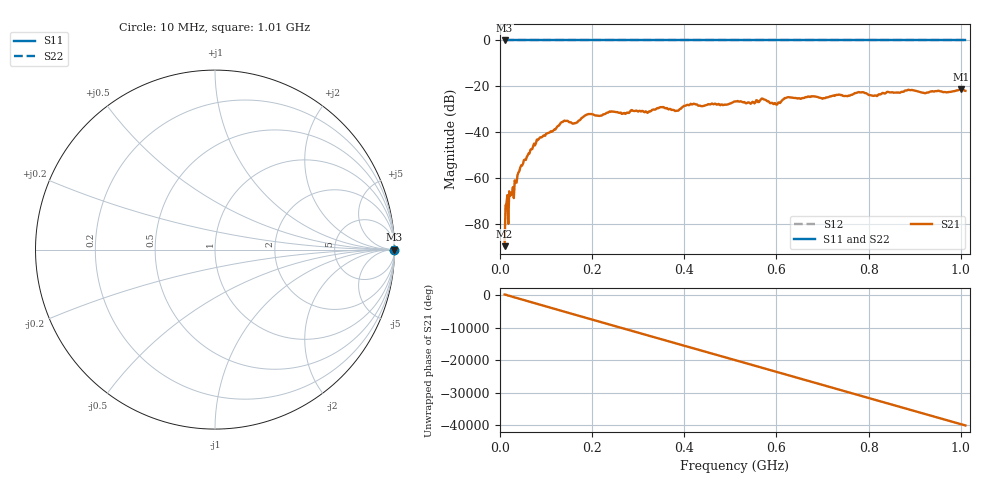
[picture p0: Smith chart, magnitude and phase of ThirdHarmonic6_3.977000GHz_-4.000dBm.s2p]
! 8/17/2025 2:09:19 PM
! C:\ANRITSUVNA\TEMP\TEMP.S2P
! CHANNEL.1
! TR.MEASUREMENT
! RAW.DATA
! RF.CORRECTION.OFF
! AVERAGING.OFF
! IF.BANDWIDTH: 5KHZ
! SWEEPTYPE:  FREQ.SWEEP(Linear)
! Reference Plane Port Info
! PORT:  PORT1  PORT2
! DISTANCE:  0  m  0  m
! TIME:  0  s  0  s
! PHASE.OFFSET:  0  deg.  0  deg.
! LOSS:  0  dB  0  dB
! REF.LOSS:  0  dB  0  dB
! REF.FREQ:  0  Hz  0  Hz
! Power Info
! POWER:  -20  dBm  -20  dBm
! EFF.POWER:  -20  dBm  -20  dBm
! SOURCE.ATTEN:  0  dB  0  dB
! TEST.ATTEN:  0  dB  0  dB
# GHZ S RI R 50.0
! FREQ.GHZ  S11RE  S11IM  S21RE  S21IM  S12RE  S12IM  S22RE  S22IM
!; PortSelection: Port_12
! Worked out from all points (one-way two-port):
!   501 points, 10 MHz to 1.01 GHz, reference 50 ohm
!   highest |S21| = -21.30 dB at 1 GHz (marker M1); lowest = -89.8 dB at 10 MHz (marker M2)
!   lowest |S11| = 0.0 dB at 10 MHz (marker M3)
!   |S11| at or under -10 dB: nowhere
!   |S22| runs from 0.0 to 0.0 dB; largest |S21 - S12| = 1.1
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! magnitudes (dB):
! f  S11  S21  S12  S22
! 10 MHz  0.0  -89.8  0.0  0.0
! 16 MHz  0.0  -67.6  0.0  0.0
! 22 MHz  0.0  -67.9  0.0  0.0
! 24 MHz  0.0  -67.3  0.0  0.0
! 26 MHz  0.0  -66.8  0.0  0.0
! 42 MHz  0.0  -57.0  0.0  0.0
! 82 MHz  0.0  -43.5  0.0  0.0
! 136 MHz  0.0  -35.6  0.0  0.0
! 162 MHz  0.0  -36.1  0.0  0.0
! 178 MHz  0.0  -33.8  0.0  0.0
! 192 MHz  0.0  -32.1  0.0  0.0
! 344 MHz  0.0  -29.6  0.0  0.0
! 384 MHz  0.0  -30.7  0.0  0.0
! 418 MHz  0.0  -27.9  0.0  0.0
! 510 MHz  0.0  -26.7  0.0  0.0
! 570 MHz  0.0  -25.4  0.0  0.0
! 598 MHz  0.0  -27.5  0.0  0.0
! 622 MHz  0.0  -25.0  0.0  0.0
! 678 MHz  0.0  -24.4  0.0  0.0
! 844 MHz  0.0  -22.5  0.0  0.0
! 1 GHz  0.0  -21.3  0.0  0.0
! 1.01 GHz  0.0  -22.0  0.0  0.0
